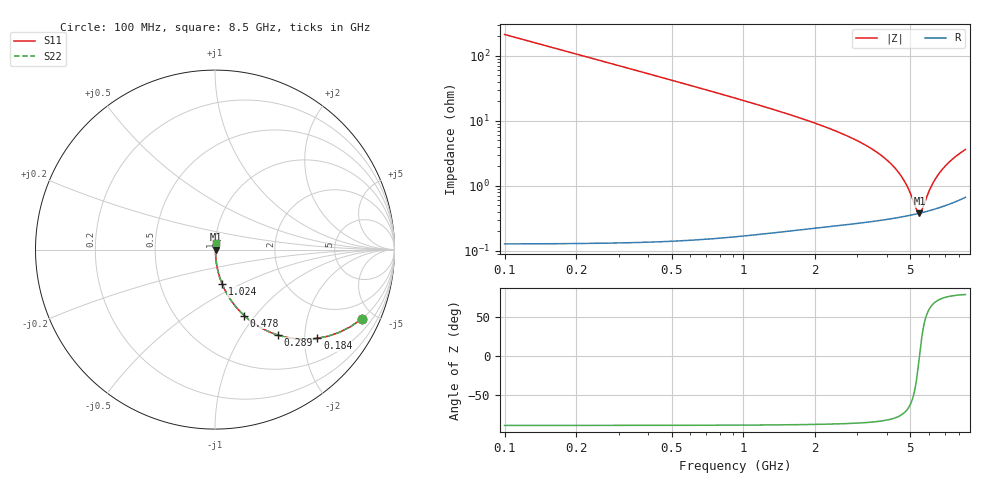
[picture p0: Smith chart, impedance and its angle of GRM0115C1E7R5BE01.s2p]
!Murata Part Number: GRM0115C1E7R5BE01
!These Parameters are Measured in Series Mode Connection
!Data Generated on Mar 30, 2021
!  o--ll--o
!Port1  Port2
!  o------o
!Operation Temp=25[degC], DC Bias Voltage=0[V]
!Freq. Start=100[MHz] Stop=9[GHz] 401[Steps]
# Hz S RI R 50
!Freq.(Hz) S11(Real) S11(Imag) S21(Real) S21(Imag) S12(Real) S12(Imag) S22(Real) S22(Imag)
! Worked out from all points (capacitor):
!   401 points, 100 MHz to 8.5 GHz, reference 50 ohm
!   read as one part in series: C = 7.5 pF near 142 MHz
!   lowest |Z| = 378 mohm at 5.455 GHz (marker M1)
!   series resonance near 5.459 GHz, so ESL is about 110 pH
!   S11 on the Smith chart (normalised r, x): 100 MHz: 1.00, -4.24; 184 MHz: 1.00, -2.30; 289 MHz: 1.00, -1.46; 478 MHz: 1.00, -0.88; 1.024 GHz: 1.00, -0.40; 8.5 GHz: 1.01, +0.07
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1e8  0.818 -0.3855  0.182 0.3855  0.182 0.3855  0.818 -0.3855
1.84e8  0.5701 -0.4945  0.4299 0.4945  0.4299 0.4945  0.5701 -0.4945
2.89e8  0.3492 -0.4758  0.6508 0.4758  0.6508 0.4758  0.3492 -0.4758
3.73e8  0.2432 -0.4278  0.7568 0.4278  0.7568 0.4278  0.2432 -0.4278
4.78e8  0.1631 -0.3679  0.8369 0.3679  0.8369 0.3679  0.1631 -0.3679
6.88e8  0.0853 -0.2769  0.9147 0.2769  0.9147 0.2769  0.0853 -0.2769
1.024e9  0.0398 -0.1912  0.9602 0.1912  0.9602 0.1912  0.0398 -0.1912
1.507e9  0.0184 -0.127  0.9816 0.127  0.9816 0.127  0.0184 -0.127
2.914e9  0.00525 -0.0514  0.9947 0.0514  0.9947 0.0514  0.00525 -0.0514
3.733e9  0.00382 -0.0299  0.9962 0.0299  0.9962 0.0299  0.00382 -0.0299
4.3e9  0.00351 -0.0185  0.9965 0.0185  0.9965 0.0185  0.00351 -0.0185
4.762e9  0.00349 -0.0105  0.9965 0.0105  0.9965 0.0105  0.00349 -0.0105
5.308e9  0.00368 -0.00216  0.9963 0.00216  0.9963 0.00216  0.00368 -0.00216
5.455e9  0.00376 -5.76e-05  0.9962 5.76e-05  0.9962 5.76e-05  0.00376 -5.76e-05
5.56e9  0.00383 0.00141  0.9962 -0.00141  0.9962 -0.00141  0.00383 0.00141
5.707e9  0.00393 0.00342  0.9961 -0.00342  0.9961 -0.00342  0.00393 0.00342
6.001e9  0.00417 0.00729  0.9958 -0.00729  0.9958 -0.00729  0.00417 0.00729
6.295e9  0.00445 0.011  0.9956 -0.011  0.9956 -0.011  0.00445 0.011
6.673e9  0.00487 0.0155  0.9951 -0.0155  0.9951 -0.0155  0.00487 0.0155
7.114e9  0.00544 0.0206  0.9946 -0.0206  0.9946 -0.0206  0.00544 0.0206
7.744e9  0.00641 0.0274  0.9936 -0.0274  0.9936 -0.0274  0.00641 0.0274
8.5e9  0.00782 0.035  0.9922 -0.035  0.9922 -0.035  0.00782 0.035
